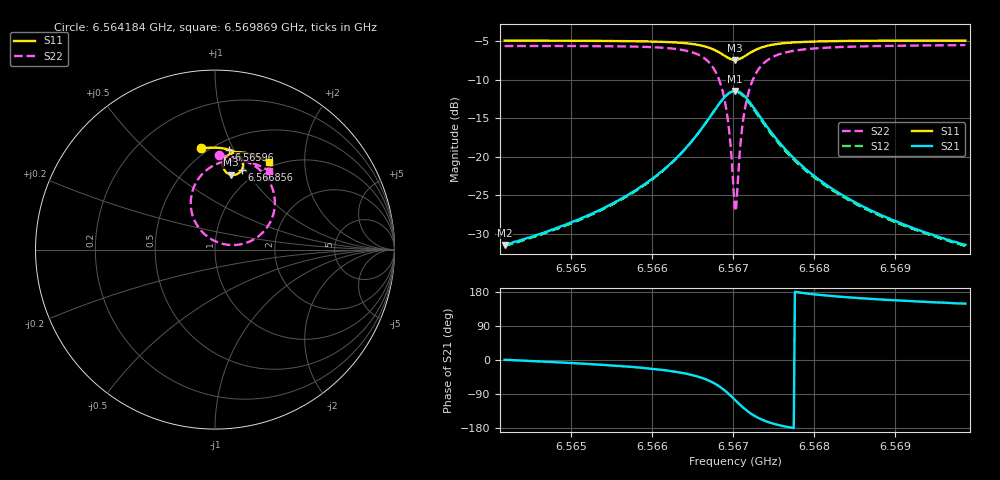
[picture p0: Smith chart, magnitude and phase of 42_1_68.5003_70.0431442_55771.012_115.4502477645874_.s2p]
#  HZ  S  RI  R  50.00
! Rohde & Schwarz Vector Network Analyzer
! Rohde-Schwarz,ZNB20-2Port,1311601062101988,3.16
! Created: UTC 3/20/2024, 5:05:37 PM
! freq[Hz]  re:S11  im:S11  re:S21  im:S21  re:S12  im:S12  re:S22  im:S22
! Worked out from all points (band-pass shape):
!   401 points, 6.564184 GHz to 6.569869 GHz, reference 50 ohm
!   highest |S21| = -11.43 dB at 6.567026 GHz (marker M1); lowest = -31.5 dB at 6.564184 GHz (marker M2)
!   |S21| within 3 dB of the highest: 6.566743 GHz to 6.567311 GHz (567.4 kHz wide, 0.00864 % of centre)
!   lowest |S11| = -7.4 dB at 6.567026 GHz (marker M3), VSWR 2.49, Z = 40.7 + j41.5 ohm
!   |S11| at or under -10 dB: nowhere
!   |S22| runs from -27.1 to -5.5 dB; largest |S21 - S12| = 0.012
!   S11 on the Smith chart (normalised r, x): 6.564184 GHz: 0.46, +0.76; 6.56596 GHz: 0.59, +0.96; 6.566856 GHz: 0.85, +0.97; 6.569869 GHz: 0.93, +1.34
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6.5641838e9  -0.0761 0.5638  0.0267 0.000219  0.0263 -0.000172  0.023 0.5245
6.565136e9  0.00113 0.5678  0.0394 -0.00657  0.0388 -0.00718  0.111 0.5133
6.5659603e9  0.0762 0.5573  0.0641 -0.0264  0.063 -0.0269  0.2123 0.4719
6.5660882e9  0.0894 0.5531  0.0705 -0.0331  0.0693 -0.0339  0.2328 0.458
6.5664008e9  0.1244 0.5348  0.0907 -0.0639  0.0893 -0.0652  0.2913 0.3972
6.5666282e9  0.15 0.5048  0.1043 -0.1158  0.1021 -0.118  0.3308 0.2972
6.5667561e9  0.1574 0.4749  0.0976 -0.1682  0.0934 -0.171  0.3253 0.1975
6.5668556e9  0.1495 0.4446  0.0666 -0.2201  0.0596 -0.2227  0.2707 0.1001
6.5668983e9  0.1398 0.4319  0.0416 -0.2408  0.0329 -0.2427  0.2253 0.0622
6.5669409e9  0.1258 0.4218  0.00883 -0.2567  -0.0013 -0.2567  0.1655 0.0348
6.5669693e9  0.1142 0.4175  -0.0167 -0.2624  -0.0274 -0.2609  0.1195 0.0261
6.567012e9  0.0952 0.4159  -0.0573 -0.2617  -0.0684 -0.2573  0.0472 0.0309
6.5670262e9  0.0888 0.417  -0.0711 -0.2587  -0.0817 -0.2533  0.0236 0.0376
6.5670546e9  0.0767 0.421  -0.0968 -0.2489  -0.1067 -0.2417  -0.0206 0.0578
6.5671114e9  0.0571 0.4364  -0.1391 -0.2165  -0.1458 -0.2066  -0.0893 0.12
6.5671541e9  0.0482 0.4515  -0.1591 -0.1862  -0.1637 -0.1756  -0.1199 0.1755
6.5672109e9  0.0441 0.4721  -0.1721 -0.1455  -0.1735 -0.1354  -0.1349 0.2481
6.567282e9  0.048 0.4943  -0.1718 -0.1019  -0.1707 -0.0935  -0.1264 0.3234
6.5675378e9  0.0872 0.5341  -0.1287 -0.0219  -0.1259 -0.0184  -0.0291 0.4563
6.5679784e9  0.1457 0.5421  -0.0763 0.0082  -0.0746 0.00944  0.0927 0.4969
6.5689305e9  0.2323 0.5198  -0.0369 0.0146  -0.036 0.0148  0.2222 0.4772
6.5698685e9  0.3004 0.4855  -0.0229 0.0139  -0.0223 0.014  0.3015 0.4389
